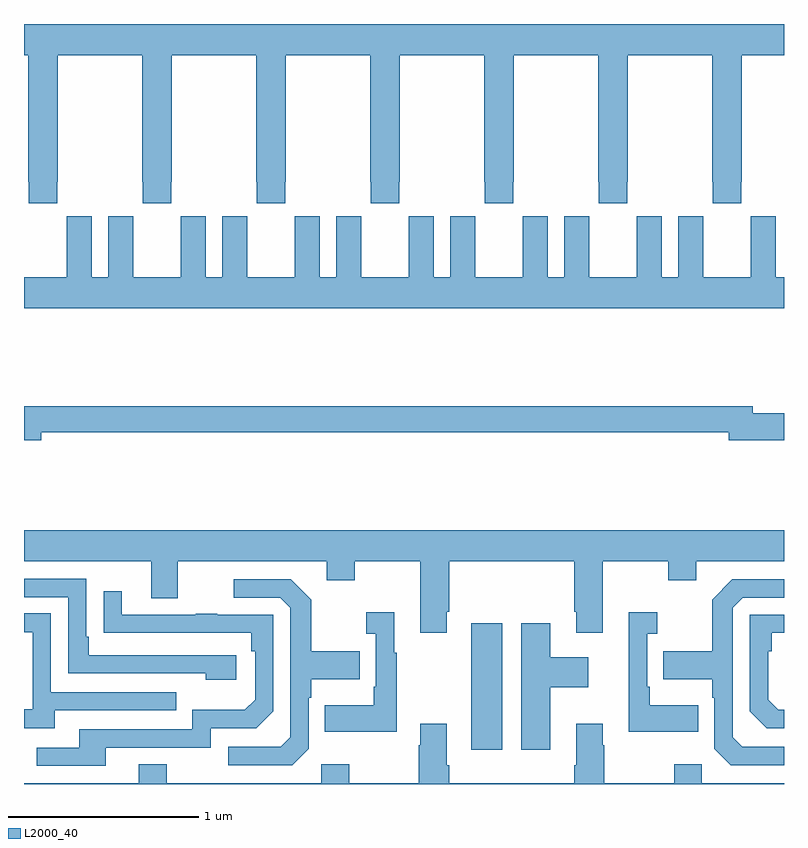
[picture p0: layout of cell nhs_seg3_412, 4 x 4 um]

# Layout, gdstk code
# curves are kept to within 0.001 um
import gdstk
lib = gdstk.Library(unit=1e-6, precision=1e-09)
def R(c, l, rs):  # rectangles x0, y0, x1, y1
    for r in rs: c.add(gdstk.rectangle(r[:2], r[2:], *l))
def P(c, l, *ps):  # polygons
    for p in ps: c.add(gdstk.Polygon(p, *l))
L2000_40 = (2000, 40)

nhs_seg3_412 = lib.new_cell('nhs_seg3_412')
R(nhs_seg3_412, L2000_40, [(133.355,710.58,133.516,711.247)])
P(nhs_seg3_412, L2000_40, [(131,714.236),(131.023,714.236),(131.023,713.569),(131.025,713.569),(131.025,713.457),(131.175,713.457),(131.175,713.569),(131.178,713.569),(131.178,714.236),(131.623,714.236),(131.623,713.569),(131.625,713.569),(131.625,713.457),(131.775,713.457),(131.775,713.569),(131.778,713.569),(131.778,714.236),(132.223,714.236),(132.223,713.569),(132.225,713.569),(132.225,713.457),(132.375,713.457),(132.375,713.569),(132.378,713.569),(132.378,714.236),(132.823,714.236),(132.823,713.569),(132.825,713.569),(132.825,713.457),(132.975,713.457),(132.975,713.569),(132.978,713.569),(132.978,714.236),(133.423,714.236),(133.423,713.569),(133.425,713.569),(133.425,713.457),(133.575,713.457),(133.575,713.569),(133.578,713.569),(133.578,714.236),(134.023,714.236),(134.023,713.569),(134.025,713.569),(134.025,713.457),(134.175,713.457),(134.175,713.569),(134.178,713.569),(134.178,714.236),(134.623,714.236),(134.623,713.569),(134.625,713.569),(134.625,713.457),(134.775,713.457),(134.775,713.569),(134.778,713.569),(134.778,714.236),(135,714.236),(135,714.4),(131,714.4)],
  [(135,713.068),(134.956,713.068),(134.956,713.389),(134.826,713.389),(134.826,713.276),(134.825,713.276),(134.825,713.068),(134.575,713.068),(134.575,713.276),(134.574,713.276),(134.574,713.389),(134.444,713.389),(134.444,713.068),(134.356,713.068),(134.356,713.389),(134.226,713.389),(134.226,713.276),(134.225,713.276),(134.225,713.068),(133.975,713.068),(133.975,713.276),(133.974,713.276),(133.974,713.389),(133.844,713.389),(133.844,713.068),(133.756,713.068),(133.756,713.389),(133.626,713.389),(133.626,713.276),(133.625,713.276),(133.625,713.068),(133.375,713.068),(133.375,713.276),(133.374,713.276),(133.374,713.389),(133.244,713.389),(133.244,713.068),(133.156,713.068),(133.156,713.389),(133.026,713.389),(133.026,713.276),(133.025,713.276),(133.025,713.068),(132.775,713.068),(132.775,713.276),(132.774,713.276),(132.774,713.389),(132.644,713.389),(132.644,713.068),(132.556,713.068),(132.556,713.389),(132.426,713.389),(132.426,713.276),(132.425,713.276),(132.425,713.068),(132.175,713.068),(132.175,713.276),(132.174,713.276),(132.174,713.389),(132.044,713.389),(132.044,713.068),(131.956,713.068),(131.956,713.389),(131.826,713.389),(131.826,713.276),(131.825,713.276),(131.825,713.068),(131.575,713.068),(131.575,713.276),(131.574,713.276),(131.574,713.389),(131.444,713.389),(131.444,713.068),(131.356,713.068),(131.356,713.389),(131.226,713.389),(131.226,713.276),(131.225,713.276),(131.225,713.068),(131,713.068),(131,712.904),(135,712.904)],
  [(131.092,712.252),(134.708,712.252),(134.708,712.21),(135,712.21),(135,712.352),(134.836,712.352),(134.836,712.388),(131,712.388),(131,712.21),(131.092,712.21)],
  [(133.225,711.307),(133.238,711.307),(133.238,711.572),(133.895,711.572),(133.895,711.307),(133.907,711.307),(133.907,711.195),(134.047,711.195),(134.047,711.572),(134.392,711.572),(134.392,711.473),(134.539,711.473),(134.539,711.572),(135,711.572),(135,711.736),(131,711.736),(131,711.572),(131.669,711.572),(131.669,711.378),(131.809,711.378),(131.809,711.572),(132.593,711.572),(132.593,711.473),(132.741,711.473),(132.741,711.572),(133.085,711.572),(133.085,711.195),(133.225,711.195)],
  [(132.118,711.078),(131.341,711.078),(131.341,711.175),(131.328,711.175),(131.328,711.48),(131,711.48),(131,711.384),(131.232,711.384),(131.232,710.982),(131.957,710.982),(131.957,710.948),(132.118,710.948)],
  [(132.498,710.586),(132.498,710.855),(132.511,710.855),(132.511,710.951),(132.767,710.951),(132.767,711.099),(132.511,711.099),(132.511,711.371),(132.405,711.477),(132.105,711.477),(132.105,711.381),(132.348,711.381),(132.402,711.327),(132.402,710.646),(132.351,710.595),(132.075,710.595),(132.075,710.499),(132.411,710.499)],
  [(135,710.595),(134.781,710.595),(134.73,710.646),(134.73,711.327),(134.784,711.381),(135,711.381),(135,711.477),(134.727,711.477),(134.622,711.371),(134.622,711.099),(134.365,711.099),(134.365,710.951),(134.622,710.951),(134.622,710.855),(134.634,710.855),(134.634,710.586),(134.721,710.499),(135,710.499)],
  [(131.431,710.592),(131.982,710.592),(131.982,710.694),(132.222,710.694),(132.312,710.784),(132.312,711.291),(132.017,711.291),(132.017,711.296),(131.905,711.296),(131.905,711.291),(131.515,711.291),(131.515,711.415),(131.419,711.415),(131.419,711.196),(132.196,711.195),(132.196,711.098),(132.216,711.098),(132.216,710.844),(132.163,710.791),(131.886,710.791),(131.886,710.688),(131.291,710.688),(131.291,710.592),(131.067,710.592),(131.067,710.496),(131.431,710.496)],
  [(132.961,711.091),(132.949,711.091),(132.949,711.304),(132.801,711.304),(132.801,711.191),(132.852,711.191),(132.852,710.911),(132.84,710.911),(132.84,710.815),(132.583,710.815),(132.583,710.675),(132.961,710.675)],
  [(134.549,710.815),(134.293,710.815),(134.293,710.911),(134.28,710.911),(134.28,711.191),(134.332,711.191),(134.332,711.304),(134.183,711.304),(134.183,710.675),(134.549,710.675)],
  [(131.161,710.787),(131.801,710.787),(131.801,710.883),(131.142,710.883),(131.142,711.299),(131,711.299),(131,711.198),(131.046,711.198),(131.046,710.793),(131,710.793),(131,710.693),(131.161,710.693)],
  [(135,710.791),(134.969,710.791),(134.916,710.844),(134.916,711.098),(134.936,711.098),(134.936,711.195),(135,711.195),(135,711.291),(134.82,711.291),(134.82,710.784),(134.91,710.694),(135,710.694)],
  [(133.771,710.909),(133.969,710.909),(133.969,711.067),(133.771,711.067),(133.771,711.247),(133.616,711.247),(133.616,710.58),(133.771,710.58)],
  [(135,710.404),(134.568,710.404),(134.568,710.503),(134.422,710.503),(134.422,710.404),(134.055,710.404),(134.055,710.603),(134.047,710.603),(134.047,710.716),(133.907,710.716),(133.907,710.5),(133.895,710.5),(133.895,710.404),(133.238,710.404),(133.238,710.5),(133.225,710.5),(133.225,710.716),(133.085,710.716),(133.085,710.603),(133.078,710.603),(133.078,710.404),(132.711,710.404),(132.711,710.503),(132.564,710.503),(132.564,710.404),(131.751,710.404),(131.751,710.503),(131.603,710.503),(131.603,710.404),(131,710.404),(131,710.4),(135,710.4)])

lib.write_gds('nhs_seg3_412.gds')
